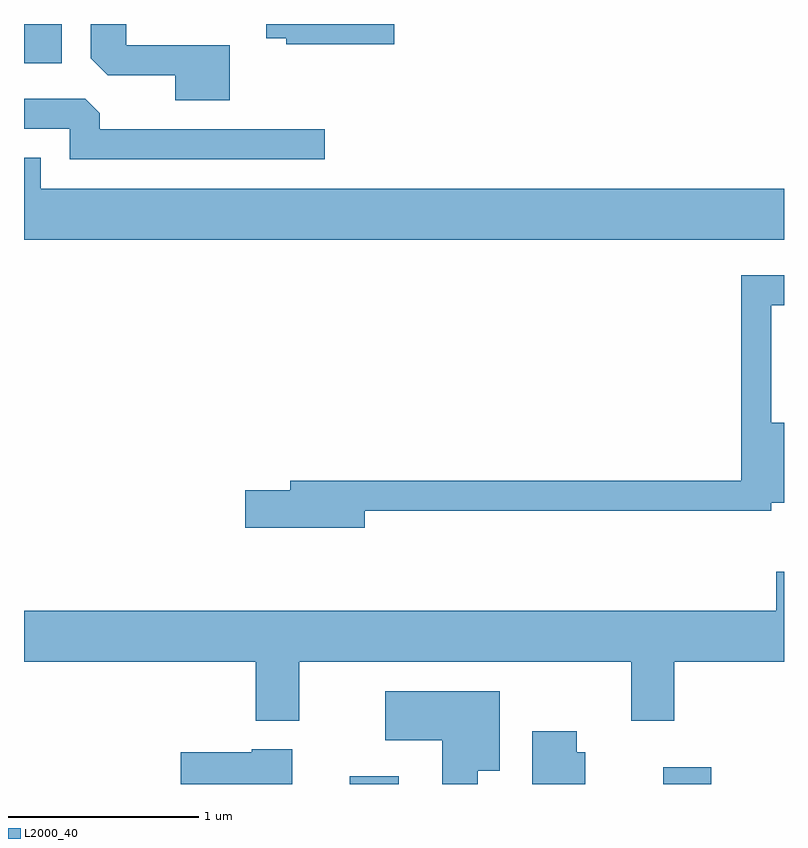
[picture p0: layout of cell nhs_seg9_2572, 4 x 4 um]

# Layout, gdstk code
import gdstk
lib = gdstk.Library(unit=1e-6, precision=1e-09)
def R(c, l, rs):  # rectangles x0, y0, x1, y1
    for r in rs: c.add(gdstk.rectangle(r[:2], r[2:], *l))
def P(c, l, *ps):  # polygons
    for p in ps: c.add(gdstk.Polygon(p, *l))
L2000_40 = (2000, 40)

nhs_seg9_2572 = lib.new_cell('nhs_seg9_2572')
R(nhs_seg9_2572, L2000_40, [(261.326,2064.432,261.584,2064.474), (262.976,2064.432,263.229,2064.519), (259.611,2068.226,259.809,2068.432)])
P(nhs_seg9_2572, L2000_40, [(261.559,2068.432),(260.886,2068.432),(260.886,2068.356),(260.991,2068.356),(260.991,2068.326),(261.559,2068.326)],
  [(260.694,2068.319),(260.149,2068.319),(260.149,2068.432),(259.961,2068.432),(259.961,2068.251),(260.052,2068.161),(260.406,2068.161),(260.406,2068.031),(260.694,2068.031)],
  [(261.193,2067.879),(260.009,2067.879),(260.009,2067.963),(259.933,2068.039),(259.611,2068.039),(259.611,2067.881),(259.851,2067.881),(259.851,2067.721),(261.193,2067.721)],
  [(263.611,2067.564),(259.699,2067.564),(259.699,2067.729),(259.611,2067.729),(259.611,2067.296),(263.611,2067.296)],
  [(261.404,2065.871),(263.544,2065.871),(263.544,2065.911),(263.611,2065.911),(263.611,2066.334),(263.544,2066.334),(263.544,2066.951),(263.611,2066.951),(263.611,2067.109),(263.386,2067.109),(263.386,2066.029),(261.011,2066.029),(261.011,2065.979),(260.776,2065.979),(260.776,2065.781),(261.404,2065.781)],
  [(261.059,2065.076),(262.806,2065.076),(262.806,2064.766),(263.034,2064.766),(263.034,2065.076),(263.611,2065.076),(263.611,2065.549),(263.571,2065.549),(263.571,2065.344),(259.611,2065.344),(259.611,2065.076),(260.831,2065.076),(260.831,2064.766),(261.059,2064.766)],
  [(261.999,2064.501),(262.114,2064.501),(262.114,2064.919),(261.511,2064.919),(261.511,2064.661),(261.811,2064.661),(261.811,2064.432),(261.999,2064.432)],
  [(262.564,2064.599),(262.519,2064.599),(262.519,2064.709),(262.286,2064.709),(262.286,2064.432),(262.564,2064.432)],
  [(261.024,2064.614),(260.81,2064.614),(260.81,2064.599),(260.436,2064.599),(260.436,2064.432),(261.024,2064.432)])

lib.write_gds('nhs_seg9_2572.gds')
